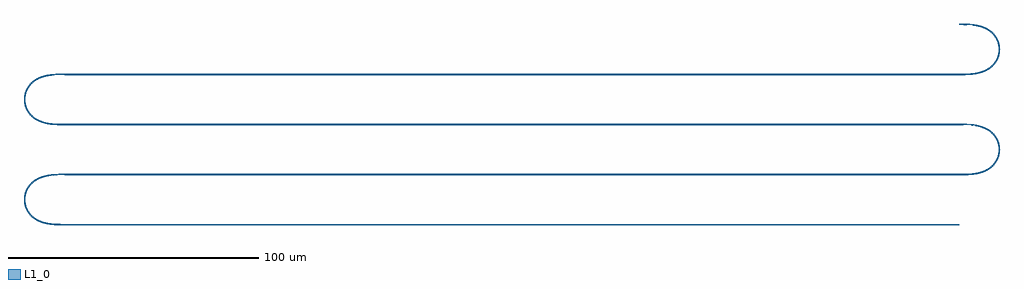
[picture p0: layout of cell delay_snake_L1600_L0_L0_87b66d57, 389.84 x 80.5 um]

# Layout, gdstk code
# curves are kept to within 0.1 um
from math import pi, radians
import gdstk
lib = gdstk.Library(unit=1e-6, precision=1e-09)
def R(c, l, rs):  # rectangles x0, y0, x1, y1
    for r in rs: c.add(gdstk.rectangle(r[:2], r[2:], *l))
def P(c, l, *ps):  # polygons
    for p in ps: c.add(gdstk.Polygon(p, *l))
L1_0 = (1, 0)

straight_l0_n2_csstrip = lib.new_cell('straight_L0_N2_CSstrip')

bend_euler_rnone_a180_p_ = lib.new_cell('bend_euler_RNone_A180_P_a75aec30')
P(bend_euler_rnone_a180_p_, L1_0, [(0,-0.25),(0,0.25),(4.503,0.368),(6.214,0.563),(7.73,0.858),(9.845,1.539),(11.655,2.481),(12.614,3.182),(13.475,3.996),(14.121,4.779),(14.755,5.779),(15.188,6.697),(15.556,7.822),(15.77,8.987),(15.828,10),(15.77,11.013),(15.556,12.178),(15.188,13.303),(14.755,14.221),(14.121,15.221),(13.475,16.004),(12.614,16.818),(11.655,17.519),(9.845,18.461),(7.73,19.142),(6.214,19.437),(4.503,19.632),(0,19.75),(0,20.25),(4.192,20.156),(7.158,19.779),(8.531,19.447),(9.707,19.055),(10.844,18.555),(12.075,17.842),(13.594,16.602),(14.73,15.224),(15.583,13.655),(16.122,11.953),(16.267,11.071),(16.328,10),(16.157,8.222),(15.893,7.183),(15.583,6.345),(14.73,4.776),(13.594,3.398),(12.368,2.361),(10.844,1.445),(9.207,0.765),(7.331,0.256),(5.417,-0.047),(2.967,-0.217)])

straight_l357p183_n2_css = lib.new_cell('straight_L357p183_N2_CSstrip')
R(straight_l357p183_n2_css, L1_0, [(0,-0.25,357.183,0.25)])

delay_snake_l1600_l0_l0_ = lib.new_cell('delay_snake_L1600_L0_L0_87b66d57')
delay_snake_l1600_l0_l0_.add(gdstk.Reference(straight_l0_n2_csstrip, (0,0)))
delay_snake_l1600_l0_l0_.add(gdstk.Reference(bend_euler_rnone_a180_p_, (0,-20)))
delay_snake_l1600_l0_l0_.add(gdstk.Reference(straight_l357p183_n2_css, (0,-20), rotation=pi))
delay_snake_l1600_l0_l0_.add(gdstk.Reference(bend_euler_rnone_a180_p_, (-357.183,-20), rotation=pi))
delay_snake_l1600_l0_l0_.add(gdstk.Reference(straight_l357p183_n2_css, (-357.183,-40)))
delay_snake_l1600_l0_l0_.add(gdstk.Reference(bend_euler_rnone_a180_p_, (0,-60)))
delay_snake_l1600_l0_l0_.add(gdstk.Reference(straight_l357p183_n2_css, (0,-60), rotation=pi))
delay_snake_l1600_l0_l0_.add(gdstk.Reference(bend_euler_rnone_a180_p_, (-357.183,-60), rotation=pi))
delay_snake_l1600_l0_l0_.add(gdstk.Reference(straight_l357p183_n2_css, (-357.183,-80)))
delay_snake_l1600_l0_l0_.add(gdstk.Reference(straight_l0_n2_csstrip, (0,-80)))

lib.write_gds('delay_snake_L1600_L0_L0_87b66d57.gds')
